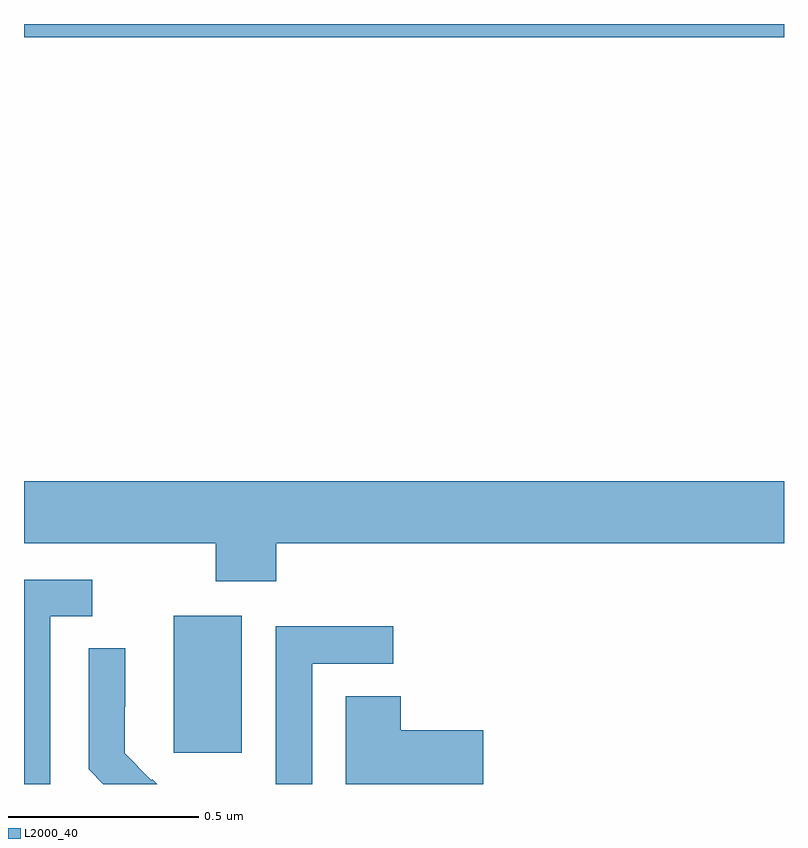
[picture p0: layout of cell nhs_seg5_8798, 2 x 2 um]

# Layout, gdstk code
import gdstk
lib = gdstk.Library(unit=1e-6, precision=1e-09)
def R(c, l, rs):  # rectangles x0, y0, x1, y1
    for r in rs: c.add(gdstk.rectangle(r[:2], r[2:], *l))
def P(c, l, *ps):  # polygons
    for p in ps: c.add(gdstk.Polygon(p, *l))
L2000_40 = (2000, 40)

nhs_seg5_8798 = lib.new_cell('nhs_seg5_8798')
R(nhs_seg5_8798, L2000_40, [(226.394,850.881,226.573,851.242), (226,852.764,228,852.799)])
P(nhs_seg5_8798, L2000_40, [(226.664,851.432),(228,851.432),(228,851.596),(226,851.596),(226,851.432),(226.504,851.432),(226.504,851.333),(226.664,851.333)],
  [(226.069,851.241),(226.18,851.241),(226.18,851.337),(226,851.337),(226,850.799),(226.069,850.799)],
  [(226.758,851.115),(226.972,851.115),(226.972,851.214),(226.662,851.214),(226.662,850.799),(226.758,850.799)],
  [(226.338,850.812),(226.335,850.809),(226.265,850.88),(226.265,851.002),(226.266,851.002),(226.266,851.156),(226.17,851.156),(226.17,850.838),(226.209,850.799),(226.351,850.799)],
  [(227.209,850.94),(226.991,850.94),(226.991,851.03),(226.847,851.03),(226.847,850.799),(227.209,850.799)])

lib.write_gds('nhs_seg5_8798.gds')
